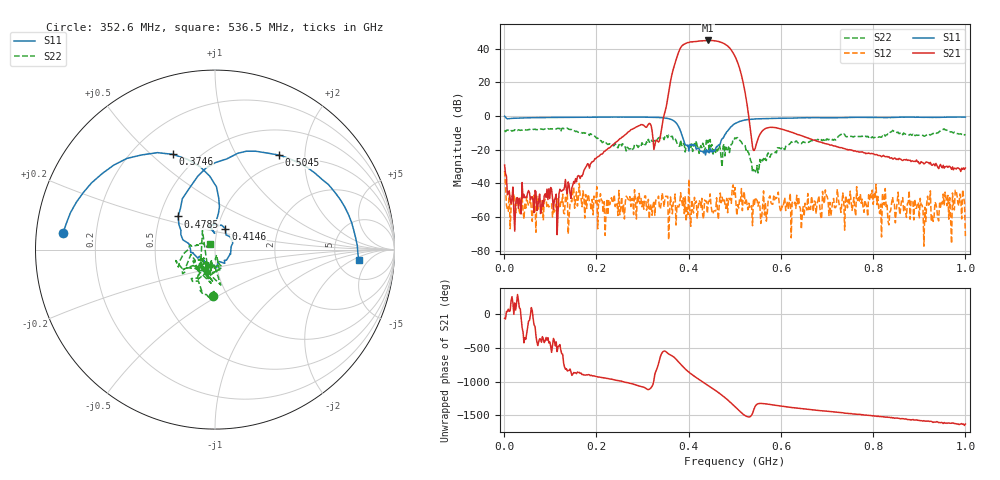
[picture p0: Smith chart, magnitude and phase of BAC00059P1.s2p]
!measured: 2026-10-27T15:23:48
!cal_instance: BBtestOct27
!cal_created: 2026-10-27T14:45
!cal_file: BBtesting.cal
!port1_delay_ps: -58.63
!port2_delay_ps: -59.31
!host: dhcp-10-250-247-203.harvard.edu
! Created with skrf 2.1.0 (http://scikit-rf.org).
# Hz S RI R 50.0
!freq ReS11 ImS11 ReS21 ImS21 ReS12 ImS12 ReS22 ImS22
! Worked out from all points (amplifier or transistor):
!   501 points, 1 MHz to 1 GHz, reference 50 ohm
!   highest |S21| = 44.9 dB at 442.6 MHz (marker M1)
!   |S21| within 3 dB of that: 386.3 MHz to 483.1 MHz (96.72 MHz wide, 22.3 % of centre)
!   unconditionally stable (mu >= 1): start of sweep to 400.2 MHz; 446.7 MHz to 494.4 MHz; 500.9 MHz to end of sweep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
!   at 166.8 MHz: K = 1342.32, MAG = -27.4 dB, |S12| = -49.4 dB
!   at 500.5 MHz: K = 0.84, MSG = 39.0 dB, |S12| = -42.6 dB
!   at 1 GHz: K = 8591.77, MAG = -22.1 dB, |S12| = -71.4 dB
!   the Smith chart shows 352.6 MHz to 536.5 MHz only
!   S11 on the Smith chart (normalised r, x): 352.6 MHz: 0.08, +0.05; 374.6 MHz: 0.37, +0.59; 414.6 MHz: 1.09, +0.26; 478.5 MHz: 0.62, +0.25; 504.5 MHz: 0.86, +1.52; 536.5 MHz: 8.21, -2.66
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1000000  -0.3621 0.9142  0.0155 -0.0311  0.00756 0.0219  0.3731 -0.0471
1.68832e8  0.4953 -0.7677  -0.0161 -0.00106  0.00166 -0.00112  -0.023 -0.3178
3.34666e8  -0.8369 -0.3357  0.1613 -0.0425  -0.00336 -0.00242  0.0525 -0.2168
3.52648e8  -0.8465 0.0927  -2.011 1.101  -0.00396 -0.000164  -0.012 -0.2603
3.74626e8  -0.2366 0.5308  45.16 33.77  0.000842 -0.00208  -0.0902 -0.1279
3.84616e8  0.0206 0.2883  94.04 -70.82  0.000634 0.00303  -0.1345 -0.0271
3.94606e8  -0.0162 0.135  -39.8 -139.3  -0.000249 -0.000689  -0.0911 -0.0919
4.04596e8  -0.0167 0.1425  -151.7 -47.68  0.000165 -0.000498  -0.0487 -0.0925
4.14586e8  0.0578 0.1169  -138.1 85.74  0.00192 0.00164  -0.0811 -0.0819
4.28572e8  0.0858 -0.0226  18.8 169.8  -0.000896 0.00345  -0.0556 -0.0997
4.42558e8  -0.0371 -0.0835  163.3 63.85  0.00147 -0.00242  -0.0934 -0.1646
4.52548e8  -0.0641 -0.0553  157.5 -72.53  -0.00111 -0.000492  -0.0147 -0.0655
4.62538e8  -0.1222 -0.0173  50.77 -158.1  0.00148 -0.000587  -0.0697 -0.0583
4.7053e8  -0.1791 0.0545  -58.93 -142.2  0.00234 0.00122  0.0012 -0.0545
4.78522e8  -0.2058 0.185  -124.2 -56.96  -0.00214 0.0014  -0.0197 -0.0618
4.9051e8  -0.0496 0.4549  -67.59 71.48  5.53e-05 0.00356  -0.0353 -0.1182
5.005e8  0.2279 0.548  20.76 55.11  -0.00716 0.00197  -0.1808 -0.1343
5.04496e8  0.3557 0.5268  32.42 30.35  0.00109 -0.000142  -0.2185 -0.0609
5.36464e8  0.7996 -0.0578  0.1034 -0.1676  0.00187 -0.00106  -0.0268 0.031
6.68332e8  0.052 -0.8836  0.1817 0.0732  -0.00278 -0.000187  0.0308 -0.1774
8.34166e8  -0.6019 -0.6678  0.00219 -0.0614  -3.44e-05 0.00058  -0.1789 -0.2271
1e9  -0.8924 -0.2467  -0.0281 0.00421  0.000264 5.28e-05  -0.2303 -0.163
